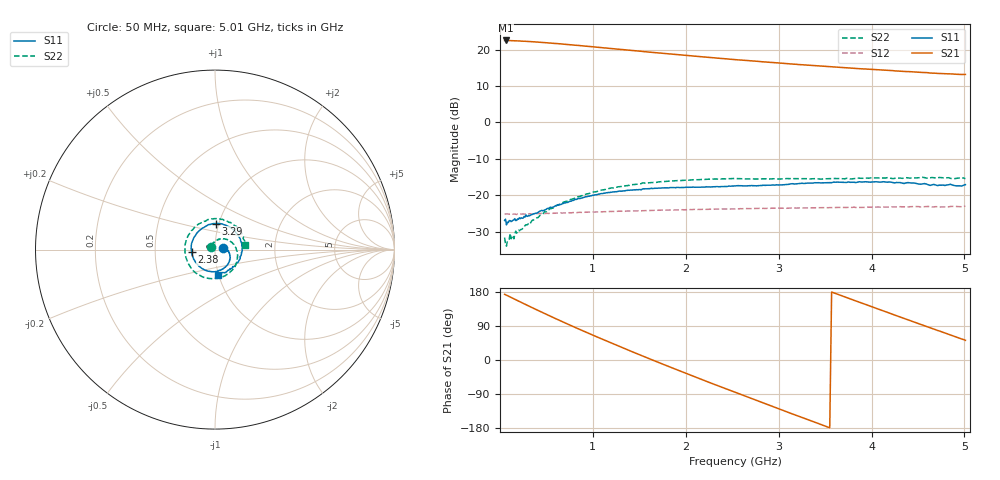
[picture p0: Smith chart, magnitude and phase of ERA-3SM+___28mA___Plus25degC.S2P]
! Mini-Circuits
! S2P DATA File Format
! Type: MMIC Amplifier
! Model: ERA-3SM  Reference Data: RDF-1128B
! Note: All S Parameters are in dB deg format
! TEST CONDITIONS: INPUT POWER = -25dBm, Icc = 28mA, Vd = 3.22V @Temperature = +25degC
! 401 Frequency points
# MHz S DB R 50
!  FREQ  dB(S11)  PHS(S11)  dB(S21)  PHS(S21)  dB(S12)  PHS(S12)  dB(S22)  PHS(S22)
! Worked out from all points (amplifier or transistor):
!   401 points, 50 MHz to 5.01 GHz, reference 50 ohm
!   highest |S21| = 22.6 dB at 60 MHz (marker M1)
!   |S21| within 3 dB of that: start of sweep to 1.525 GHz
!   unconditionally stable (mu >= 1): start of sweep to end of sweep
!   at 710 MHz: K = 1.06, MAG = 21.7 dB, |S12| = -24.9 dB
!   at 2.05 GHz: K = 1.17, MAG = 18.7 dB, |S12| = -24.0 dB
!   at 5.01 GHz: K = 1.66, MAG = 13.4 dB, |S12| = -23.0 dB
!   S11 on the Smith chart (normalised r, x): 50 MHz: 1.09, +0.02; 2.38 GHz: 0.77, -0.02; 3.29 GHz: 0.96, +0.29; 5.01 GHz: 0.99, -0.28
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50  -26.96 10.0  22.55 173.4  -25.30 -2.2  -31.67 149.1
60  -26.60 5.7  22.55 172.2  -25.14 -4.1  -33.54 148.4
250  -26.30 6.8  22.33 149.5  -25.17 -14.6  -28.96 107.9
360  -25.14 4.5  22.19 136.6  -25.11 -20.8  -26.85 91.0
470  -24.24 2.6  22.00 123.8  -25.02 -27.5  -25.01 75.3
670  -22.37 -8.5  21.56 101.3  -24.94 -39.8  -22.22 49.7
880  -20.81 -22.9  21.09 78.4  -24.74 -52.7  -20.15 26.8
1090  -19.56 -42.2  20.59 56.0  -24.60 -66.0  -18.63 4.6
1290  -18.87 -59.8  20.11 35.4  -24.41 -78.9  -17.67 -16.3
1500  -18.45 -80.5  19.62 14.1  -24.30 -92.5  -16.85 -36.7
1710  -18.03 -101.7  19.12 -6.8  -24.18 -106.4  -16.34 -57.6
2070  -17.81 -140.1  18.30 -41.8  -23.97 -130.4  -15.78 -91.9
2380  -17.63 -173.2  17.61 -71.2  -23.84 -151.3  -15.57 -121.4
2530  -17.45 170.6  17.28 -85.2  -23.77 -161.3  -15.43 -136.0
2730  -17.39 147.3  16.90 -103.8  -23.67 -174.7  -15.54 -154.8
2940  -17.20 124.7  16.48 -123.3  -23.61 171.0  -15.49 -174.0
3290  -16.75 88.7  15.80 -155.2  -23.50 147.4  -15.46 152.6
3370  -16.68 79.8  15.66 -162.5  -23.49 142.1  -15.49 145.1
3730  -16.52 43.8  15.03 164.9  -23.39 117.0  -15.36 113.8
4190  -16.36 -1.9  14.31 124.0  -23.23 86.3  -15.27 74.3
4570  -16.81 -37.8  13.74 90.4  -23.19 60.0  -15.18 45.0
5010  -17.10 -84.1  13.22 51.9  -23.04 30.9  -15.49 9.7
